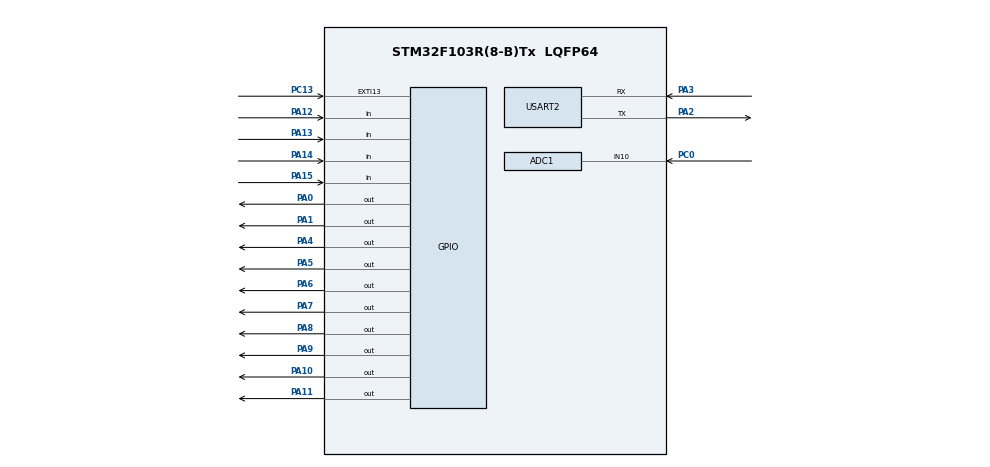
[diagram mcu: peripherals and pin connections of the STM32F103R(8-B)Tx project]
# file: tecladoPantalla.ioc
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ADC1.Channel-1\#ChannelRegularConversion=ADC_CHANNEL_10
ADC1.NbrOfConversion=1
ADC1.NbrOfConversionFlag=1
ADC1.Rank-1\#ChannelRegularConversion=1
ADC1.SamplingTime-1\#ChannelRegularConversion=ADC_SAMPLETIME_1CYCLE_5
ADC1.master=1
Mcu.Family=STM32F1
Mcu.Name=STM32F103R(8-B)Tx
Mcu.Package=LQFP64
NVIC.EXTI15_10_IRQn=true\:0\:0\:false\:false\:true\:true\:true
NVIC.PriorityGroup=NVIC_PRIORITYGROUP_4
PA0-WKUP.Signal=GPIO_Output
PA1.Signal=GPIO_Output
PA10.Signal=GPIO_Output
PA11.Signal=GPIO_Output
PA12.GPIO_PuPd=GPIO_PULLUP
PA12.Signal=GPIO_Input
PA13.GPIO_PuPd=GPIO_PULLUP
PA13.Signal=GPIO_Input
PA14.GPIO_PuPd=GPIO_PULLUP
PA14.Signal=GPIO_Input
PA15.GPIO_PuPd=GPIO_PULLUP
PA15.Signal=GPIO_Input
PA2.Mode=Asynchronous
PA2.Signal=USART2_TX
PA3.Mode=Asynchronous
PA3.Signal=USART2_RX
PA4.Signal=GPIO_Output
PA5.Signal=GPIO_Output
PA6.Signal=GPIO_Output
PA7.Signal=GPIO_Output
PA8.Signal=GPIO_Output
PA9.Signal=GPIO_Output
PC0.Signal=ADCx_IN10
PC13-TAMPER-RTC.GPIO_ModeDefaultEXTI=GPIO_MODE_IT_FALLING
PC13-TAMPER-RTC.GPIO_PuPd=GPIO_PULLUP
PC13-TAMPER-RTC.Signal=GPXTI13
ProjectManager.HeapSize=0x200
ProjectManager.StackSize=0x400
ProjectManager.TargetToolchain=STM32CubeIDE
RCC.APB1Freq_Value=8000000
RCC.APB2Freq_Value=8000000
SH.ADCx_IN10.0=ADC1_IN10,IN10
USART2.VirtualMode=VM_ASYNC
VP_SYS_VS_ND.Mode=No_Debug
board=custom

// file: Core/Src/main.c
/* USER CODE BEGIN Header */
/**
  ******************************************************************************
  * @file           : main.c
  * @brief          : Main program body
  ******************************************************************************
  * @attention
  *
  * <h2><center>&copy; Copyright (c) 2021 STMicroelectronics.
  * All rights reserved.</center></h2>
  *
  * This software component is licensed by ST under BSD 3-Clause license,
  * the "License"; You may not use this file except in compliance with the
  * License. You may obtain a copy of the License at:
  *                        opensource.org/licenses/BSD-3-Clause
  *
  ******************************************************************************
  */
/* USER CODE END Header */

#include "main.h"

/* USER CODE BEGIN Includes */

#include "retarget.h"
#include <stdio.h>
#include <stdlib.h>
#include <math.h>
#include <string.h>
#include "keypad.h"
#include "lcd3310_GPIO.h"

/* USER CODE END Includes */

ADC_HandleTypeDef hadc1;

UART_HandleTypeDef huart2;

/* USER CODE BEGIN PV */

char tecla = 0;				// Variable que guarda la tecla presionada
char arrayIngresar[10];		// Arreglo que guarda el dato nuevo a ingresar
int i = 0; 					// Contador para los arreglos
double numero = 0.0; 		// Variable donde se guarda el numero convertido del arrayIngresar (Temperatura objetivo)
double numero1 = 30.0; 		// Variable que almacena el valor objetivo por defecto
char control = 'Z';			// Variable que almacena los comandos introducidos desde teclado matricial

/* USER CODE END PV */

void SystemClock_Config(void);
static void MX_GPIO_Init(void);
static void MX_ADC1_Init(void);
static void MX_USART2_UART_Init(void);
/* USER CODE BEGIN PFP */

////////////////////////////////////////////////////////////////////////////////
// Mapeo de una lectura de entrada analógica en rango (in_min, in_max)		  //
// a un valor en el rango (out_min, out_max)								  //
////////////////////////////////////////////////////////////////////////////////
float mapfloat(long x, long in_min, long in_max, long out_min, long out_max);

////////////////////////////////////////////////////////////////////////////////
// Almacena un valor de entrada por teclado en el arreglo arrayIngresar		  //
// y lo convierte a float, ya sea para cambiar el valor objetivo (numero)	  //
// o la temperatura pre-establecida (numero1), según sea el caso del comando  //
// seleccionado con la interrupción											  //
// La tecla enter se representa por #										  //
// La tecla B elimina un caracter en caso de que el usuario se equivoque	  //
////////////////////////////////////////////////////////////////////////////////
void ingresarValor(void);

////////////////////////////////////////////////////////////////////////////////
// Muestra la temperatura actual contra la temperatura objetivo				  //
////////////////////////////////////////////////////////////////////////////////
void mostrarTemperaturasLCD(char *temperaturaActual, char *temperaturaObjetivo);

////////////////////////////////////////////////////////////////////////////////
// Muestra le primer mensaje por pantalla para darle a entender al usuario	  //
// que puede introducir un comando											  //
////////////////////////////////////////////////////////////////////////////////
void mensajeInterrupcion(void);

////////////////////////////////////////////////////////////////////////////////
// Muestra por pantalla el comando seleccionado por el usuario:				  //
// A -> Para cambiar la temperatura objetivo								  //
// B -> Para usar el valor pre-establecido como temperatura objetivo		  //
// C -> Para modificar el valor pre-establecido								  //
// # -> Representa un 'enter' una vez seleccionado un comando anterior		  //
// 																			  //
// Caracteres diferentes a los anteriores son ignorados, dar un enter(#)	  //
// sin comando seleccionado, hace caso omiso de la interrupcion y mantiene	  //
// al sistema trabajando con el valor que ya tenía antes de la interrupción	  //
////////////////////////////////////////////////////////////////////////////////
void mostrarComandoElegido(char mensaje);

////////////////////////////////////////////////////////////////////////////////
// Funciones necesarias para inicializar la LCD agrupadas en esta función	  //
// ya que inicializar la pantalla en la interrupción es necesario			  //
////////////////////////////////////////////////////////////////////////////////
void inicializarLCD(void);

////////////////////////////////////////////////////////////////////////////////
// Convierte flotantes a cadenas											  //
////////////////////////////////////////////////////////////////////////////////
static char * _float_to_char(float x, char *p, int CHAR_BUFF_SIZE);

////////////////////////////////////////////////////////////////////////////////
// Función llamada para verificar que pin o pines provocaron la interrupción  //
//																			  //
// Si el usuario provoca interrupcion con el botón de usuario (PC13)		  //
// Se muestra un mensaje y se espera la entrada de un comando, dependiendo	  //
// de la elección se realiza la acción correspondiente						  //
////////////////////////////////////////////////////////////////////////////////
void HAL_GPIO_EXTI_Callback(uint16_t GPIO_Pin);

/* USER CODE END PFP */

int main(void)
{
  /* USER CODE BEGIN 1 */
  char voltajeEntradaPC0[10] = "";
  unsigned int valorADC1_PC0 = 0;
  float valorADC1_PC0_toFloat = 0;

  /* USER CODE END 1 */

  /* MCU Configuration--------------------------------------------------------*/

  /* Reset of all peripherals, Initializes the Flash interface and the Systick. */
  HAL_Init();

  /* Configure the system clock */
  SystemClock_Config();

  /* Initialize all configured peripherals */
  MX_GPIO_Init();
  MX_ADC1_Init();
  MX_USART2_UART_Init();
  /* USER CODE BEGIN 2 */

  RetargetInit(&huart2);		// INICIA LA TRANSFERENCIA POR UART2

  //Inicializar la pantalla LCD
  inicializarLCD();

  // Se comenta la linea de configuración del teclado ya que se uso la interfaz stm32CubeIDE
  // keypad_init(); 				// Inicializa el teclado

  /* USER CODE END 2 */

  /* Infinite loop */
  /* USER CODE BEGIN WHILE */

  // Se alamacena el valor pre establecido en numero(valor objetivo) para que en
  // un inicio el sistema comience a ajustarse a ese valor
  numero = numero1;
  sprintf(arrayIngresar, "%.4f", numero);	// _float_to_char(numero, arrayIngresar, 10);

  while (1)
  {
    /* USER CODE END WHILE */

    /* USER CODE BEGIN 3 */

	HAL_ADC_Start(&hadc1);
	// HAL_ADC_PollForConversion(&hadc1, HAL_MAX_DELAY);
	valorADC1_PC0 = HAL_ADC_GetValue(&hadc1);
	valorADC1_PC0_toFloat = mapfloat(valorADC1_PC0, 0, 4095, 0, 5);

	// _float_to_char(valorADC1_PC0_toFloat, voltajeEntradaPC0, 10);
	sprintf(voltajeEntradaPC0, "%.4f", valorADC1_PC0_toFloat);	// Conversion de voltaje de entrada a string

	// printf("Objetivo: %s\n\r", arrayIngresar);
	// printf("Numero: %f\n\r", numero);

	mostrarTemperaturasLCD(voltajeEntradaPC0, arrayIngresar);	// Muestra el voltaje medido en PC0 y el voltaje objetivo
	memset(voltajeEntradaPC0, 0, 10);							// Limpia la variable voltajeEntradaPC0

  }
  /* USER CODE END 3 */
}

void SystemClock_Config(void)
{
  RCC_OscInitTypeDef RCC_OscInitStruct = {0};
  RCC_ClkInitTypeDef RCC_ClkInitStruct = {0};
  RCC_PeriphCLKInitTypeDef PeriphClkInit = {0};

  /** Initializes the CPU, AHB and APB busses clocks
  */
  RCC_OscInitStruct.OscillatorType = RCC_OSCILLATORTYPE_HSI;
  RCC_OscInitStruct.HSIState = RCC_HSI_ON;
  RCC_OscInitStruct.HSICalibrationValue = RCC_HSICALIBRATION_DEFAULT;
  RCC_OscInitStruct.PLL.PLLState = RCC_PLL_NONE;
  if (HAL_RCC_OscConfig(&RCC_OscInitStruct) != HAL_OK)
  {
    Error_Handler();
  }
  /** Initializes the CPU, AHB and APB busses clocks
  */
  RCC_ClkInitStruct.ClockType = RCC_CLOCKTYPE_HCLK|RCC_CLOCKTYPE_SYSCLK
                              |RCC_CLOCKTYPE_PCLK1|RCC_CLOCKTYPE_PCLK2;
  RCC_ClkInitStruct.SYSCLKSource = RCC_SYSCLKSOURCE_HSI;
  RCC_ClkInitStruct.AHBCLKDivider = RCC_SYSCLK_DIV1;
  RCC_ClkInitStruct.APB1CLKDivider = RCC_HCLK_DIV1;
  RCC_ClkInitStruct.APB2CLKDivider = RCC_HCLK_DIV1;

  if (HAL_RCC_ClockConfig(&RCC_ClkInitStruct, FLASH_LATENCY_0) != HAL_OK)
  {
    Error_Handler();
  }
  PeriphClkInit.PeriphClockSelection = RCC_PERIPHCLK_ADC;
  PeriphClkInit.AdcClockSelection = RCC_ADCPCLK2_DIV2;
  if (HAL_RCCEx_PeriphCLKConfig(&PeriphClkInit) != HAL_OK)
  {
    Error_Handler();
  }
}

static void MX_ADC1_Init(void)
{

  ADC_ChannelConfTypeDef sConfig = {0};

  /** Common config
  */
  hadc1.Instance = ADC1;
  hadc1.Init.ScanConvMode = ADC_SCAN_DISABLE;
  hadc1.Init.ContinuousConvMode = DISABLE;
  hadc1.Init.DiscontinuousConvMode = DISABLE;
  hadc1.Init.ExternalTrigConv = ADC_SOFTWARE_START;
  hadc1.Init.DataAlign = ADC_DATAALIGN_RIGHT;
  hadc1.Init.NbrOfConversion = 1;
  if (HAL_ADC_Init(&hadc1) != HAL_OK)
  {
    Error_Handler();
  }
  /** Configure Regular Channel
  */
  sConfig.Channel = ADC_CHANNEL_10;
  sConfig.Rank = ADC_REGULAR_RANK_1;
  sConfig.SamplingTime = ADC_SAMPLETIME_1CYCLE_5;
  if (HAL_ADC_ConfigChannel(&hadc1, &sConfig) != HAL_OK)
  {
    Error_Handler();
  }

}

static void MX_USART2_UART_Init(void)
{

  huart2.Instance = USART2;
  huart2.Init.BaudRate = 115200;
  huart2.Init.WordLength = UART_WORDLENGTH_8B;
  huart2.Init.StopBits = UART_STOPBITS_1;
  huart2.Init.Parity = UART_PARITY_NONE;
  huart2.Init.Mode = UART_MODE_TX_RX;
  huart2.Init.HwFlowCtl = UART_HWCONTROL_NONE;
  huart2.Init.OverSampling = UART_OVERSAMPLING_16;
  if (HAL_UART_Init(&huart2) != HAL_OK)
  {
    Error_Handler();
  }

}

static void MX_GPIO_Init(void)
{
  GPIO_InitTypeDef GPIO_InitStruct = {0};

  /* GPIO Ports Clock Enable */
  __HAL_RCC_GPIOC_CLK_ENABLE();
  __HAL_RCC_GPIOA_CLK_ENABLE();

  /*Configure GPIO pin Output Level */
  HAL_GPIO_WritePin(GPIOA, GPIO_PIN_0|GPIO_PIN_1|GPIO_PIN_4|GPIO_PIN_5
                          |GPIO_PIN_6|GPIO_PIN_7|GPIO_PIN_8|GPIO_PIN_9
                          |GPIO_PIN_10|GPIO_PIN_11, GPIO_PIN_RESET);

  /*Configure GPIO pin : PC13 */
  GPIO_InitStruct.Pin = GPIO_PIN_13;
  GPIO_InitStruct.Mode = GPIO_MODE_IT_FALLING;
  GPIO_InitStruct.Pull = GPIO_PULLUP;
  HAL_GPIO_Init(GPIOC, &GPIO_InitStruct);

  /*Configure GPIO pins : PA0 PA1 PA4 PA5
                           PA6 PA7 PA8 PA9
                           PA10 PA11 */
  GPIO_InitStruct.Pin = GPIO_PIN_0|GPIO_PIN_1|GPIO_PIN_4|GPIO_PIN_5
                          |GPIO_PIN_6|GPIO_PIN_7|GPIO_PIN_8|GPIO_PIN_9
                          |GPIO_PIN_10|GPIO_PIN_11;
  GPIO_InitStruct.Mode = GPIO_MODE_OUTPUT_PP;
  GPIO_InitStruct.Pull = GPIO_NOPULL;
  GPIO_InitStruct.Speed = GPIO_SPEED_FREQ_LOW;
  HAL_GPIO_Init(GPIOA, &GPIO_InitStruct);

  /*Configure GPIO pins : PA12 PA13 PA14 PA15 */
  GPIO_InitStruct.Pin = GPIO_PIN_12|GPIO_PIN_13|GPIO_PIN_14|GPIO_PIN_15;
  GPIO_InitStruct.Mode = GPIO_MODE_INPUT;
  GPIO_InitStruct.Pull = GPIO_PULLUP;
  HAL_GPIO_Init(GPIOA, &GPIO_InitStruct);

  /* EXTI interrupt init*/
  HAL_NVIC_SetPriority(EXTI15_10_IRQn, 0, 0);
  HAL_NVIC_EnableIRQ(EXTI15_10_IRQn);

}

/* USER CODE BEGIN 4 */

float mapfloat(long x, long in_min, long in_max, long out_min, long out_max){
	return (float)(x - in_min) * (out_max - out_min) / (float)(in_max - in_min) + out_min;
}

void ingresarValor(){

	tecla = keypad_read();
	if(tecla){
		if((tecla >= '0' && tecla <= '9') || (tecla == '.')){ // El array se llena solo si se presionan esas teclas
		arrayIngresar[i] = tecla;
		i++;
		}
		if(tecla == '#'){ 							// Si se presiona el #, convierte el array a numero, y lo guarda en la variable numero

			double aux;	// Para manejar un dato de entrada incorrecto

			// printf("atof: %f\n\r", atof(arrayIngresar));
			aux = atof(arrayIngresar) ? atof(arrayIngresar) : numero;

			// Si el comando introducido fue A, almacena su valor como el objetivo, sino como el valor predefinido
			if (control == 'A') numero = aux;
			else if(control == 'C') numero1 = aux;

			// printf("numero convertido a float: %.2f\n\r", numero*2);
			i = 0; 									// Se reinicia el indice del arreglo

			// Vaciar el array de ingreso
			memset(arrayIngresar, 0, 10);
		}
		if(tecla == 'B'){ 							// Si se presiona la tecla B, borra el ultimo elemento del arreglo

			if (control == 'A'){
				LCDStr(3, (unsigned char *)"              ", 0);	// Para visualizar el borrado de el digito introducido
				arrayIngresar[strlen(arrayIngresar)-1] = '\0';		// Borra el último caracter de el arreglo de ingreso
				// printf("%s\n\r",arrayIngresar);
			}
			else if (control == 'C'){
				LCDStr(4, (unsigned char *)"              ", 0);	// Para visualizar el borrado de el digito introducido
				arrayIngresar[strlen(arrayIngresar)-1] = '\0';		// Borra el último caracter de el arreglo de ingreso
				// printf("%s\n\r",arrayIngresar);
			}

			// Si se elimina el primer caracter del arreglo, mantiene a 'i' en cero
			(i < 0) ? i = 0 : i--;

		}
	}

	return;
}

void mostrarTemperaturasLCD(char *temperaturaActual, char *temperaturaObjetivo){
	LCDStr(0, (unsigned char *) "T Actual(~C)", 0);
	LCDStr(1, (unsigned char *) temperaturaActual, 0);
	LCDStr(3, (unsigned char *) "T Objetivo(~C)", 0);
	LCDStr(4, (unsigned char *) temperaturaObjetivo, 0);
	LCDUpdate();

	return;
}

void mensajeInterrupcion(){

	inicializarLCD();
	LCDStr(0, (unsigned char *) "   Dame un    ", 1);
	LCDStr(1, (unsigned char *) "   comando:   ", 1);
	LCDUpdate();

	return;
}

void mostrarComandoElegido(char mensaje){

	char comando[5] = "";

	// printf("%c\n\r", mensaje);
	// printf("%s\n\r", comando);

	if ( mensaje == 'A' || mensaje == 'B' || mensaje == 'C' ){
		control = mensaje;			// Almacena el comando seleccionado por el usuario
		comando[0] = mensaje;		// Se almacena el char a un apuntador char para mostrar en pantalla
		LCDStr(3, (unsigned char *) comando, 0);
		LCDUpdate();
		memset( comando, 0, 5 );	// Se limpia la memoria en 'comando'
	}

	return;
}

void inicializarLCD(){
	LCDInit();
	LCDContrast (0x60);
	LCDClear();
	LCDUpdate();
}

static char * _float_to_char(float x, char *p, int CHAR_BUFF_SIZE){
    char *s = p + CHAR_BUFF_SIZE; // go to end of buffer
    for (i=0; i<CHAR_BUFF_SIZE; i++)
    	p[i]='0';
    uint16_t decimals;  // variable to store the decimals
    int units;  // variable to store the units (part to left of decimal place)
    if (x < 0) { // take care of negative numbers
        decimals = (int)(x * -100) % 100; // make 1000 for 3 decimals etc.
        units = (int)(-1 * x);
    } else { // positive numbers
        decimals = (int)(x * 100) % 100;
        units = (int)x;
    }

    *--s = (decimals % 10) + '0';
    decimals /= 10; // repeat for as many decimal places as you need
    *--s = (decimals % 10) + '0';
    *--s = '.';

    while (units > 0) {
        *--s = (units % 10) + '0';
        units /= 10;
    }
    if (x < 0) *--s = '-'; // unary minus sign for negative numbers
    return s;
}

// Función que se ejecuta con las interrupciones
void HAL_GPIO_EXTI_Callback(uint16_t GPIO_Pin)
{

	if ( GPIO_Pin == GPIO_PIN_13 ){
		char comando = 'Z';
		control = 'Z';

		// Para indicar que la interrupción está activa, se activa el led verde de la placa
		HAL_GPIO_WritePin(GPIOA, GPIO_PIN_5, GPIO_PIN_SET);

		mensajeInterrupcion();

		// Lee el teclado hasta que se coloque el caracter '#'
		while (comando != '#'){
			comando = keypad_read();
			mostrarComandoElegido(comando);
		}
		comando = 'Z';
		// printf("El comando seleccionado es: %c\n\r", control);

		// Vaciar el array de ingreso
		memset(arrayIngresar, 0, 10);

		inicializarLCD();

		switch(control){
			case 'A':	// Ingresar un valor de temperatura objetivo

				LCDStr(0, (unsigned char *) "   Modificar  ", 1);
				LCDStr(1, (unsigned char *) "   objetivo:  ", 1);
				LCDUpdate();

				while( comando != '#' ){
					ingresarValor();
					LCDStr(3, (unsigned char *) arrayIngresar, 0);
					comando = tecla;
				}

				// _float_to_char(numero, arrayIngresar, 10);
				sprintf(arrayIngresar, "%.4f", numero);			 	// Conversión de numero a string

				break;

			case 'B':	// Establece el valor objetivo con un valor pre-establecido en la variable numero1

				LCDStr(0, (unsigned char *) "   Valor      ", 1);
				LCDStr(1, (unsigned char *) "   objetivo   ", 1);
				LCDStr(2, (unsigned char *) "   fijado en  ", 1);

				numero = numero1;
				// _float_to_char(numero, arrayIngresar, 10);
				sprintf(arrayIngresar, "%.4f", numero);			 	// Conversión de numero a string
				LCDStr(4, (unsigned char *) arrayIngresar, 0);

				LCDUpdate();

				// Delay para que el usuario pueda visualizar el mensaje del cambio
				// del valor objetivo
				{
					unsigned int c = 0;

					while(c < 1000000)c++; c = 0;
					while(c < 1000000)c++; c = 0;
					while(c < 1000000)c++; c = 0;
				}

				break;

			case 'C':	// Cambia el valor de la variable que tiene un valor pre-establecido
						// Para usarse este valor es necesario usar el comando B despues de actualizar el dato aqui

				LCDStr(0, (unsigned char *) "  Modificar   ", 1);
				LCDStr(1, (unsigned char *) "  valor pre   ", 1);
				LCDStr(2, (unsigned char *) "  establecido ", 1);
				LCDUpdate();

				while( comando != '#' ){
					ingresarValor();
					LCDStr(4, (unsigned char *) arrayIngresar, 0);
					comando = tecla;
				}

				// _float_to_char(numero, arrayIngresar, 10);
				sprintf(arrayIngresar, "%.4f", numero);			 	// Conversión de numero a string

				break;
			default:
				break;
		}

		// Para indicar que la interrupción está inactiva, se desactiva el led verde de la placa
		HAL_GPIO_WritePin(GPIOA, GPIO_PIN_5, GPIO_PIN_RESET);
		memset(arrayIngresar, 0, 10);

		// Esta línea hace que se mantenga el valor reflejado en pantalla con la funcion mostrarTemperaturasLCD()
		// _float_to_char(numero, arrayIngresar, 10);
		sprintf(arrayIngresar, "%.4f", numero);

		LCDClear();
	}
}

/* USER CODE END 4 */

void Error_Handler(void)
{
}

/************************ (C) COPYRIGHT STMicroelectronics *****END OF FILE****/
